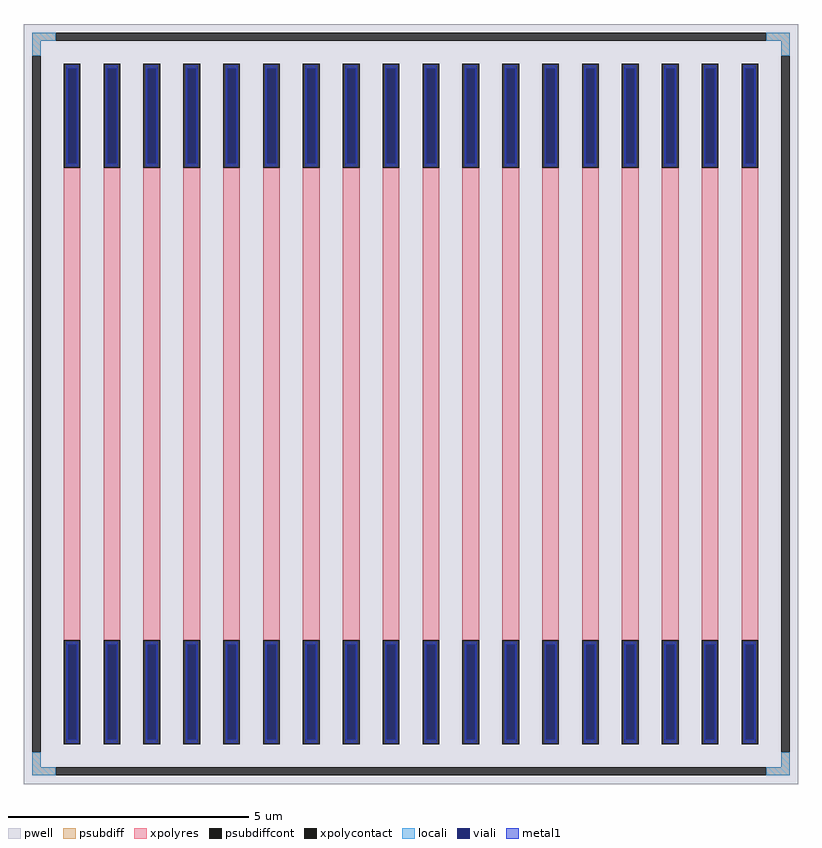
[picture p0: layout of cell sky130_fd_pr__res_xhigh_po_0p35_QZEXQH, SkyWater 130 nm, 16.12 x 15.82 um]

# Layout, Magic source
magic
tech sky130A
magscale 1 2
<< pwell >>
rect -1612 -1582 1612 1582
<< psubdiff >>
rect -1576 1512 -1480 1546
rect 1480 1512 1576 1546
rect -1576 1450 -1542 1512
rect 1542 1450 1576 1512
rect -1576 -1512 -1542 -1450
rect 1542 -1512 1576 -1450
rect -1576 -1546 -1480 -1512
rect 1480 -1546 1576 -1512
<< psubdiffcont >>
rect -1480 1512 1480 1546
rect -1576 -1450 -1542 1450
rect 1542 -1450 1576 1450
rect -1480 -1546 1480 -1512
<< xpolycontact >>
rect -1446 984 -1376 1416
rect -1446 -1416 -1376 -984
rect -1280 984 -1210 1416
rect -1280 -1416 -1210 -984
rect -1114 984 -1044 1416
rect -1114 -1416 -1044 -984
rect -948 984 -878 1416
rect -948 -1416 -878 -984
rect -782 984 -712 1416
rect -782 -1416 -712 -984
rect -616 984 -546 1416
rect -616 -1416 -546 -984
rect -450 984 -380 1416
rect -450 -1416 -380 -984
rect -284 984 -214 1416
rect -284 -1416 -214 -984
rect -118 984 -48 1416
rect -118 -1416 -48 -984
rect 48 984 118 1416
rect 48 -1416 118 -984
rect 214 984 284 1416
rect 214 -1416 284 -984
rect 380 984 450 1416
rect 380 -1416 450 -984
rect 546 984 616 1416
rect 546 -1416 616 -984
rect 712 984 782 1416
rect 712 -1416 782 -984
rect 878 984 948 1416
rect 878 -1416 948 -984
rect 1044 984 1114 1416
rect 1044 -1416 1114 -984
rect 1210 984 1280 1416
rect 1210 -1416 1280 -984
rect 1376 984 1446 1416
rect 1376 -1416 1446 -984
<< xpolyres >>
rect -1446 -984 -1376 984
rect -1280 -984 -1210 984
rect -1114 -984 -1044 984
rect -948 -984 -878 984
rect -782 -984 -712 984
rect -616 -984 -546 984
rect -450 -984 -380 984
rect -284 -984 -214 984
rect -118 -984 -48 984
rect 48 -984 118 984
rect 214 -984 284 984
rect 380 -984 450 984
rect 546 -984 616 984
rect 712 -984 782 984
rect 878 -984 948 984
rect 1044 -984 1114 984
rect 1210 -984 1280 984
rect 1376 -984 1446 984
<< locali >>
rect -1576 1512 -1480 1546
rect 1480 1512 1576 1546
rect -1576 1450 -1542 1512
rect 1542 1450 1576 1512
rect -1576 -1512 -1542 -1450
rect 1542 -1512 1576 -1450
rect -1576 -1546 -1480 -1512
rect 1480 -1546 1576 -1512
<< viali >>
rect -1430 1001 -1392 1398
rect -1264 1001 -1226 1398
rect -1098 1001 -1060 1398
rect -932 1001 -894 1398
rect -766 1001 -728 1398
rect -600 1001 -562 1398
rect -434 1001 -396 1398
rect -268 1001 -230 1398
rect -102 1001 -64 1398
rect 64 1001 102 1398
rect 230 1001 268 1398
rect 396 1001 434 1398
rect 562 1001 600 1398
rect 728 1001 766 1398
rect 894 1001 932 1398
rect 1060 1001 1098 1398
rect 1226 1001 1264 1398
rect 1392 1001 1430 1398
rect -1430 -1398 -1392 -1001
rect -1264 -1398 -1226 -1001
rect -1098 -1398 -1060 -1001
rect -932 -1398 -894 -1001
rect -766 -1398 -728 -1001
rect -600 -1398 -562 -1001
rect -434 -1398 -396 -1001
rect -268 -1398 -230 -1001
rect -102 -1398 -64 -1001
rect 64 -1398 102 -1001
rect 230 -1398 268 -1001
rect 396 -1398 434 -1001
rect 562 -1398 600 -1001
rect 728 -1398 766 -1001
rect 894 -1398 932 -1001
rect 1060 -1398 1098 -1001
rect 1226 -1398 1264 -1001
rect 1392 -1398 1430 -1001
<< metal1 >>
rect -1436 1398 -1386 1410
rect -1436 1001 -1430 1398
rect -1392 1001 -1386 1398
rect -1436 989 -1386 1001
rect -1270 1398 -1220 1410
rect -1270 1001 -1264 1398
rect -1226 1001 -1220 1398
rect -1270 989 -1220 1001
rect -1104 1398 -1054 1410
rect -1104 1001 -1098 1398
rect -1060 1001 -1054 1398
rect -1104 989 -1054 1001
rect -938 1398 -888 1410
rect -938 1001 -932 1398
rect -894 1001 -888 1398
rect -938 989 -888 1001
rect -772 1398 -722 1410
rect -772 1001 -766 1398
rect -728 1001 -722 1398
rect -772 989 -722 1001
rect -606 1398 -556 1410
rect -606 1001 -600 1398
rect -562 1001 -556 1398
rect -606 989 -556 1001
rect -440 1398 -390 1410
rect -440 1001 -434 1398
rect -396 1001 -390 1398
rect -440 989 -390 1001
rect -274 1398 -224 1410
rect -274 1001 -268 1398
rect -230 1001 -224 1398
rect -274 989 -224 1001
rect -108 1398 -58 1410
rect -108 1001 -102 1398
rect -64 1001 -58 1398
rect -108 989 -58 1001
rect 58 1398 108 1410
rect 58 1001 64 1398
rect 102 1001 108 1398
rect 58 989 108 1001
rect 224 1398 274 1410
rect 224 1001 230 1398
rect 268 1001 274 1398
rect 224 989 274 1001
rect 390 1398 440 1410
rect 390 1001 396 1398
rect 434 1001 440 1398
rect 390 989 440 1001
rect 556 1398 606 1410
rect 556 1001 562 1398
rect 600 1001 606 1398
rect 556 989 606 1001
rect 722 1398 772 1410
rect 722 1001 728 1398
rect 766 1001 772 1398
rect 722 989 772 1001
rect 888 1398 938 1410
rect 888 1001 894 1398
rect 932 1001 938 1398
rect 888 989 938 1001
rect 1054 1398 1104 1410
rect 1054 1001 1060 1398
rect 1098 1001 1104 1398
rect 1054 989 1104 1001
rect 1220 1398 1270 1410
rect 1220 1001 1226 1398
rect 1264 1001 1270 1398
rect 1220 989 1270 1001
rect 1386 1398 1436 1410
rect 1386 1001 1392 1398
rect 1430 1001 1436 1398
rect 1386 989 1436 1001
rect -1436 -1001 -1386 -989
rect -1436 -1398 -1430 -1001
rect -1392 -1398 -1386 -1001
rect -1436 -1410 -1386 -1398
rect -1270 -1001 -1220 -989
rect -1270 -1398 -1264 -1001
rect -1226 -1398 -1220 -1001
rect -1270 -1410 -1220 -1398
rect -1104 -1001 -1054 -989
rect -1104 -1398 -1098 -1001
rect -1060 -1398 -1054 -1001
rect -1104 -1410 -1054 -1398
rect -938 -1001 -888 -989
rect -938 -1398 -932 -1001
rect -894 -1398 -888 -1001
rect -938 -1410 -888 -1398
rect -772 -1001 -722 -989
rect -772 -1398 -766 -1001
rect -728 -1398 -722 -1001
rect -772 -1410 -722 -1398
rect -606 -1001 -556 -989
rect -606 -1398 -600 -1001
rect -562 -1398 -556 -1001
rect -606 -1410 -556 -1398
rect -440 -1001 -390 -989
rect -440 -1398 -434 -1001
rect -396 -1398 -390 -1001
rect -440 -1410 -390 -1398
rect -274 -1001 -224 -989
rect -274 -1398 -268 -1001
rect -230 -1398 -224 -1001
rect -274 -1410 -224 -1398
rect -108 -1001 -58 -989
rect -108 -1398 -102 -1001
rect -64 -1398 -58 -1001
rect -108 -1410 -58 -1398
rect 58 -1001 108 -989
rect 58 -1398 64 -1001
rect 102 -1398 108 -1001
rect 58 -1410 108 -1398
rect 224 -1001 274 -989
rect 224 -1398 230 -1001
rect 268 -1398 274 -1001
rect 224 -1410 274 -1398
rect 390 -1001 440 -989
rect 390 -1398 396 -1001
rect 434 -1398 440 -1001
rect 390 -1410 440 -1398
rect 556 -1001 606 -989
rect 556 -1398 562 -1001
rect 600 -1398 606 -1001
rect 556 -1410 606 -1398
rect 722 -1001 772 -989
rect 722 -1398 728 -1001
rect 766 -1398 772 -1001
rect 722 -1410 772 -1398
rect 888 -1001 938 -989
rect 888 -1398 894 -1001
rect 932 -1398 938 -1001
rect 888 -1410 938 -1398
rect 1054 -1001 1104 -989
rect 1054 -1398 1060 -1001
rect 1098 -1398 1104 -1001
rect 1054 -1410 1104 -1398
rect 1220 -1001 1270 -989
rect 1220 -1398 1226 -1001
rect 1264 -1398 1270 -1001
rect 1220 -1410 1270 -1398
rect 1386 -1001 1436 -989
rect 1386 -1398 1392 -1001
rect 1430 -1398 1436 -1001
rect 1386 -1410 1436 -1398
<< properties >>
string FIXED_BBOX -1559 -1529 1559 1529
string gencell sky130_fd_pr__res_xhigh_po_0p35
string library sky130
string parameters w 0.350 l 10.0 m 1 nx 18 wmin 0.350 lmin 0.50 rho 2000 val 58.218k dummy 0 dw 0.0 term 188.2 sterm 0.0 caplen 0 wmax 0.350 guard 1 glc 1 grc 1 gtc 1 gbc 1 compatible {sky130_fd_pr__res_xhigh_po_0p35  sky130_fd_pr__res_xhigh_po_0p69 sky130_fd_pr__res_xhigh_po_1p41  sky130_fd_pr__res_xhigh_po_2p85 sky130_fd_pr__res_xhigh_po_5p73} snake 0 full_metal 1 n_guard 0 hv_guard 0 vias 1 viagb 0 viagt 0 viagl 0 viagr 0
<< end >>
